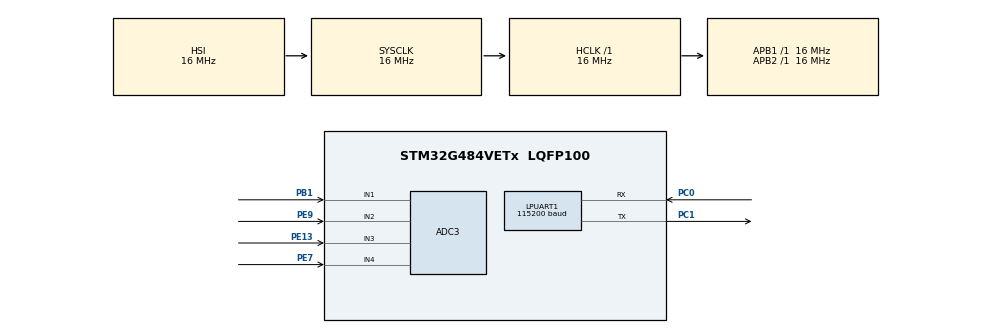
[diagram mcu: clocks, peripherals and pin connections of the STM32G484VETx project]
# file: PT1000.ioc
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ADC3.Channel-0\#ChannelRegularConversion=ADC_CHANNEL_1
ADC3.Channel-1\#ChannelRegularConversion=ADC_CHANNEL_2
ADC3.Channel-2\#ChannelRegularConversion=ADC_CHANNEL_3
ADC3.Channel-3\#ChannelRegularConversion=ADC_CHANNEL_4
ADC3.ClockPrescaler=ADC_CLOCK_SYNC_PCLK_DIV4
ADC3.ContinuousConvMode=ENABLE
ADC3.DMAContinuousRequests=ENABLE
ADC3.NbrOfConversion=4
ADC3.NbrOfConversionFlag=1
ADC3.OffsetNumber-0\#ChannelRegularConversion=ADC_OFFSET_NONE
ADC3.OffsetNumber-1\#ChannelRegularConversion=ADC_OFFSET_NONE
ADC3.OffsetNumber-2\#ChannelRegularConversion=ADC_OFFSET_NONE
ADC3.OffsetNumber-3\#ChannelRegularConversion=ADC_OFFSET_NONE
ADC3.Rank-0\#ChannelRegularConversion=1
ADC3.Rank-1\#ChannelRegularConversion=2
ADC3.Rank-2\#ChannelRegularConversion=3
ADC3.Rank-3\#ChannelRegularConversion=4
ADC3.SamplingTime-0\#ChannelRegularConversion=ADC_SAMPLETIME_247CYCLES_5
ADC3.SamplingTime-1\#ChannelRegularConversion=ADC_SAMPLETIME_247CYCLES_5
ADC3.SamplingTime-2\#ChannelRegularConversion=ADC_SAMPLETIME_247CYCLES_5
ADC3.SamplingTime-3\#ChannelRegularConversion=ADC_SAMPLETIME_247CYCLES_5
ADC3.master=1
Dma.ADC3.0.Direction=DMA_PERIPH_TO_MEMORY
Dma.ADC3.0.EventEnable=DISABLE
Dma.ADC3.0.Instance=DMA1_Channel1
Dma.ADC3.0.MemDataAlignment=DMA_MDATAALIGN_HALFWORD
Dma.ADC3.0.MemInc=DMA_MINC_ENABLE
Dma.ADC3.0.Mode=DMA_CIRCULAR
Dma.ADC3.0.PeriphDataAlignment=DMA_PDATAALIGN_HALFWORD
Dma.ADC3.0.PeriphInc=DMA_PINC_DISABLE
Dma.ADC3.0.Polarity=HAL_DMAMUX_REQ_GEN_RISING
Dma.ADC3.0.Priority=DMA_PRIORITY_LOW
Dma.ADC3.0.RequestNumber=1
Dma.ADC3.0.SignalID=NONE
Dma.ADC3.0.SyncEnable=DISABLE
Dma.ADC3.0.SyncPolarity=HAL_DMAMUX_SYNC_NO_EVENT
Dma.ADC3.0.SyncRequestNumber=1
Dma.ADC3.0.SyncSignalID=NONE
Dma.Request0=ADC3
LPUART1.BaudRate=115200
Mcu.Family=STM32G4
Mcu.Name=STM32G484VETx
Mcu.Package=LQFP100
NVIC.DMA1_Channel1_IRQn=true\:0\:0\:false\:false\:true\:false\:true\:true
NVIC.PriorityGroup=NVIC_PRIORITYGROUP_4
PB1.Mode=IN1-Single-Ended
PB1.Signal=ADC3_IN1
PC0.Mode=Asynchronous
PC0.Signal=LPUART1_RX
PC1.Mode=Asynchronous
PC1.Signal=LPUART1_TX
PE13.Mode=IN3-Single-Ended
PE13.Signal=ADC3_IN3
PE7.Mode=IN4-Single-Ended
PE7.Signal=ADC3_IN4
PE9.Mode=IN2-Single-Ended
PE9.Signal=ADC3_IN2
ProjectManager.HeapSize=0x200
ProjectManager.StackSize=0x400
ProjectManager.TargetToolchain=STM32CubeIDE
RCC.AHBFreq_Value=16000000
RCC.APB1Freq_Value=16000000
RCC.APB1TimFreq_Value=16000000
RCC.APB2Freq_Value=16000000
RCC.APB2TimFreq_Value=16000000
RCC.CortexFreq_Value=16000000
RCC.EXTERNAL_CLOCK_VALUE=12288000
RCC.HCLKFreq_Value=16000000
RCC.HSE_VALUE=8000000
RCC.HSI48_VALUE=48000000
RCC.HSI_VALUE=16000000
RCC.LSE_VALUE=32768
RCC.SYSCLKFreq_VALUE=16000000
RCC.USBFreq_Value=64000000
RCC.VCOOutputFreq_Value=128000000
VP_SYS_VS_DBSignals.Mode=DisableDeadBatterySignals
board=custom

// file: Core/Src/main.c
/* USER CODE BEGIN Header */
/**
  ******************************************************************************
  * @file           : main.c
  * @brief          : Main program body
  ******************************************************************************
  * @attention
  *
  * Copyright (c) 2024 STMicroelectronics.
  * All rights reserved.
  *
  * This software is licensed under terms that can be found in the LICENSE file
  * in the root directory of this software component.
  * If no LICENSE file comes with this software, it is provided AS-IS.
  *
  ******************************************************************************
  */
/* USER CODE END Header */
#include "main.h"

ADC_HandleTypeDef hadc3;
DMA_HandleTypeDef hdma_adc3;

UART_HandleTypeDef hlpuart1;

void SystemClock_Config(void);
static void MX_GPIO_Init(void);
static void MX_DMA_Init(void);
static void MX_ADC3_Init(void);
static void MX_LPUART1_UART_Init(void);

/* USER CODE BEGIN 0 */
int __io_putchar(int ch)
{
  if (HAL_UART_Transmit(&hlpuart1, (uint8_t*)&ch, 1, 0xFFFF) != 0)
    return -1;
  return ch;
}

float get_low_pass_filter(float value, float filtered_value, float sensitivity)
{
  return (filtered_value * (1 - sensitivity)) + (value * sensitivity);
}

#define ADC_MAX_SAMPLE_NUM (100)
static float lpf_adc[4] = {0.0, };
static uint16_t count = 0;
static volatile uint16_t adc_value[4] = {0, };
static uint32_t sum_adc[4] = {0, };

uint16_t adc_get_value(uint8_t index)
{
  if (index >= 4) {
    return 0;
  }
  return lpf_adc[index];
}

void HAL_ADC_ConvHalfCpltCallback(ADC_HandleTypeDef* hadc)
{
  if (hadc->Instance == ADC3) {
    for (int i = 0 ; i < 4 ; i++) {
      sum_adc[i] += adc_value[i];
    }

    if (count++ == ADC_MAX_SAMPLE_NUM) {
      for (int i = 0 ; i < 4 ; i++) {
        lpf_adc[i] = get_low_pass_filter((sum_adc[i] / (float)ADC_MAX_SAMPLE_NUM), lpf_adc[i], 0.1);
        sum_adc[i] = 0;
      }
      count = 0;
    }
  }
}

/* USER CODE END 0 */

int main(void)
{

  /* MCU Configuration--------------------------------------------------------*/

  /* Reset of all peripherals, Initializes the Flash interface and the Systick. */
  HAL_Init();

  /* Configure the system clock */
  SystemClock_Config();

  /* Initialize all configured peripherals */
  MX_GPIO_Init();
  MX_DMA_Init();
  MX_ADC3_Init();
  MX_LPUART1_UART_Init();

  /* Infinite loop */
  /* USER CODE BEGIN WHILE */
  while (1)
  {
    for (int i = 0 ; i < 4 ; i++) {
      pt1000_get_temperature(i);
    }
    HAL_Delay(500);
    /* USER CODE END WHILE */

  }
}

void SystemClock_Config(void)
{
  RCC_OscInitTypeDef RCC_OscInitStruct = {0};
  RCC_ClkInitTypeDef RCC_ClkInitStruct = {0};

  /** Configure the main internal regulator output voltage
  */
  HAL_PWREx_ControlVoltageScaling(PWR_REGULATOR_VOLTAGE_SCALE1);

  /** Initializes the RCC Oscillators according to the specified parameters
  * in the RCC_OscInitTypeDef structure.
  */
  RCC_OscInitStruct.OscillatorType = RCC_OSCILLATORTYPE_HSI;
  RCC_OscInitStruct.HSIState = RCC_HSI_ON;
  RCC_OscInitStruct.HSICalibrationValue = RCC_HSICALIBRATION_DEFAULT;
  RCC_OscInitStruct.PLL.PLLState = RCC_PLL_NONE;
  if (HAL_RCC_OscConfig(&RCC_OscInitStruct) != HAL_OK)
  {
    Error_Handler();
  }

  /** Initializes the CPU, AHB and APB buses clocks
  */
  RCC_ClkInitStruct.ClockType = RCC_CLOCKTYPE_HCLK|RCC_CLOCKTYPE_SYSCLK
                              |RCC_CLOCKTYPE_PCLK1|RCC_CLOCKTYPE_PCLK2;
  RCC_ClkInitStruct.SYSCLKSource = RCC_SYSCLKSOURCE_HSI;
  RCC_ClkInitStruct.AHBCLKDivider = RCC_SYSCLK_DIV1;
  RCC_ClkInitStruct.APB1CLKDivider = RCC_HCLK_DIV1;
  RCC_ClkInitStruct.APB2CLKDivider = RCC_HCLK_DIV1;

  if (HAL_RCC_ClockConfig(&RCC_ClkInitStruct, FLASH_LATENCY_0) != HAL_OK)
  {
    Error_Handler();
  }
}

static void MX_ADC3_Init(void)
{

  ADC_MultiModeTypeDef multimode = {0};
  ADC_ChannelConfTypeDef sConfig = {0};

  /** Common config
  */
  hadc3.Instance = ADC3;
  hadc3.Init.ClockPrescaler = ADC_CLOCK_SYNC_PCLK_DIV4;
  hadc3.Init.Resolution = ADC_RESOLUTION_12B;
  hadc3.Init.DataAlign = ADC_DATAALIGN_RIGHT;
  hadc3.Init.GainCompensation = 0;
  hadc3.Init.ScanConvMode = ADC_SCAN_ENABLE;
  hadc3.Init.EOCSelection = ADC_EOC_SINGLE_CONV;
  hadc3.Init.LowPowerAutoWait = DISABLE;
  hadc3.Init.ContinuousConvMode = ENABLE;
  hadc3.Init.NbrOfConversion = 4;
  hadc3.Init.DiscontinuousConvMode = DISABLE;
  hadc3.Init.ExternalTrigConv = ADC_SOFTWARE_START;
  hadc3.Init.ExternalTrigConvEdge = ADC_EXTERNALTRIGCONVEDGE_NONE;
  hadc3.Init.DMAContinuousRequests = ENABLE;
  hadc3.Init.Overrun = ADC_OVR_DATA_PRESERVED;
  hadc3.Init.OversamplingMode = DISABLE;
  if (HAL_ADC_Init(&hadc3) != HAL_OK)
  {
    Error_Handler();
  }

  /** Configure the ADC multi-mode
  */
  multimode.Mode = ADC_MODE_INDEPENDENT;
  if (HAL_ADCEx_MultiModeConfigChannel(&hadc3, &multimode) != HAL_OK)
  {
    Error_Handler();
  }

  /** Configure Regular Channel
  */
  sConfig.Channel = ADC_CHANNEL_1;
  sConfig.Rank = ADC_REGULAR_RANK_1;
  sConfig.SamplingTime = ADC_SAMPLETIME_247CYCLES_5;
  sConfig.SingleDiff = ADC_SINGLE_ENDED;
  sConfig.OffsetNumber = ADC_OFFSET_NONE;
  sConfig.Offset = 0;
  if (HAL_ADC_ConfigChannel(&hadc3, &sConfig) != HAL_OK)
  {
    Error_Handler();
  }

  /** Configure Regular Channel
  */
  sConfig.Channel = ADC_CHANNEL_2;
  sConfig.Rank = ADC_REGULAR_RANK_2;
  if (HAL_ADC_ConfigChannel(&hadc3, &sConfig) != HAL_OK)
  {
    Error_Handler();
  }

  /** Configure Regular Channel
  */
  sConfig.Channel = ADC_CHANNEL_3;
  sConfig.Rank = ADC_REGULAR_RANK_3;
  if (HAL_ADC_ConfigChannel(&hadc3, &sConfig) != HAL_OK)
  {
    Error_Handler();
  }

  /** Configure Regular Channel
  */
  sConfig.Channel = ADC_CHANNEL_4;
  sConfig.Rank = ADC_REGULAR_RANK_4;
  if (HAL_ADC_ConfigChannel(&hadc3, &sConfig) != HAL_OK)
  {
    Error_Handler();
  }
  /* USER CODE BEGIN ADC3_Init 2 */
  HAL_ADCEx_Calibration_Start(&hadc3, ADC_SINGLE_ENDED);
  if (HAL_ADC_Start_DMA(&hadc3, (uint32_t*)adc_value, 4) != 0) {
    printf("ERROR:: %s(): HAL_ADC_Start_DMA(ADC_3) : error_code = 0x%08lx\r\n", __func__, HAL_ADC_GetError(&hadc3));
  }
  /* USER CODE END ADC3_Init 2 */

}

static void MX_LPUART1_UART_Init(void)
{

  hlpuart1.Instance = LPUART1;
  hlpuart1.Init.BaudRate = 115200;
  hlpuart1.Init.WordLength = UART_WORDLENGTH_8B;
  hlpuart1.Init.StopBits = UART_STOPBITS_1;
  hlpuart1.Init.Parity = UART_PARITY_NONE;
  hlpuart1.Init.Mode = UART_MODE_TX_RX;
  hlpuart1.Init.HwFlowCtl = UART_HWCONTROL_NONE;
  hlpuart1.Init.OneBitSampling = UART_ONE_BIT_SAMPLE_DISABLE;
  hlpuart1.Init.ClockPrescaler = UART_PRESCALER_DIV1;
  hlpuart1.AdvancedInit.AdvFeatureInit = UART_ADVFEATURE_NO_INIT;
  if (HAL_UART_Init(&hlpuart1) != HAL_OK)
  {
    Error_Handler();
  }
  if (HAL_UARTEx_SetTxFifoThreshold(&hlpuart1, UART_TXFIFO_THRESHOLD_1_8) != HAL_OK)
  {
    Error_Handler();
  }
  if (HAL_UARTEx_SetRxFifoThreshold(&hlpuart1, UART_RXFIFO_THRESHOLD_1_8) != HAL_OK)
  {
    Error_Handler();
  }
  if (HAL_UARTEx_DisableFifoMode(&hlpuart1) != HAL_OK)
  {
    Error_Handler();
  }

}

static void MX_DMA_Init(void)
{

  /* DMA controller clock enable */
  __HAL_RCC_DMAMUX1_CLK_ENABLE();
  __HAL_RCC_DMA1_CLK_ENABLE();

  /* DMA interrupt init */
  /* DMA1_Channel1_IRQn interrupt configuration */
  HAL_NVIC_SetPriority(DMA1_Channel1_IRQn, 0, 0);
  HAL_NVIC_EnableIRQ(DMA1_Channel1_IRQn);

}

static void MX_GPIO_Init(void)
{

  /* GPIO Ports Clock Enable */
  __HAL_RCC_GPIOC_CLK_ENABLE();
  __HAL_RCC_GPIOB_CLK_ENABLE();
  __HAL_RCC_GPIOE_CLK_ENABLE();

}

void Error_Handler(void)
{
  __disable_irq();
  while (1)
  {
  }
}
